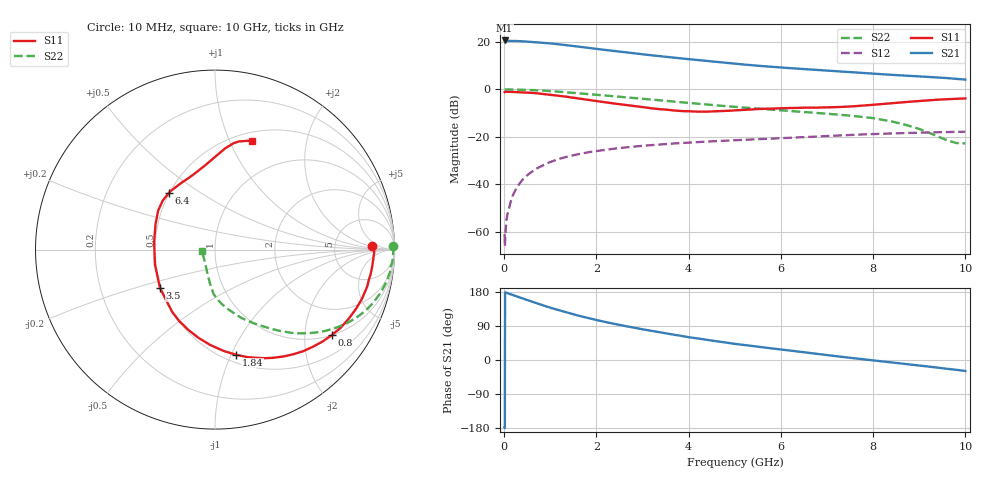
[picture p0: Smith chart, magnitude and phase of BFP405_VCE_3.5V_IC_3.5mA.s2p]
! Infineon Technologies  Discrete & RF Semiconductors
! BFP405
! VCE =  3.5 V,  IC =  3.5 mA
! Common Emitter S-Parameters:  Jan 2016
# GHz  S  MA  R  50
!  f  S11  S21  S12  S22
! GHz  MAG  ANG  MAG  ANG  MAG  ANG  MAG  ANG
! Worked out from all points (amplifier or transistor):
!   233 points, 10 MHz to 10 GHz, reference 50 ohm
!   highest |S21| = 20.5 dB at 10 MHz (marker M1)
!   |S21| within 3 dB of that: start of sweep to 1.776 GHz
!   unconditionally stable (mu >= 1): 10.61 MHz to 16.51 MHz; 3.838 GHz to end of sweep
!   at 200 MHz: K = 0.09, MSG = 32.2 dB, |S12| = -44.2 dB
!   at 1.74 GHz: K = 0.44, MSG = 22.2 dB, |S12| = -26.8 dB
!   at 10 GHz: K = 1.51, MAG = 6.7 dB, |S12| = -17.8 dB
!   S11 on the Smith chart (normalised r, x): 10 MHz: 14, +2; 800 MHz: 1.00, -2.73; 1.84 GHz: 0.57, -1.04; 3.5 GHz: 0.49, -0.24; 6.4 GHz: 0.50, +0.37; 10 GHz: 0.59, +1.21
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0.01  0.8724 1.2  10.64 -177.8  0.0009 -21.0  0.9932 1.0
0.015  0.8799 0.2  10.55 -179.7  0.0005 14.1  0.9915 0.5
0.02  0.8876 -0.7  10.48 178.3  0.0006 73.7  0.9898 0.0
0.065  0.884 -2.9  10.39 176.8  0.0022 79.1  0.993 -1.1
0.24  0.8739 -10.9  10.37 169.2  0.0075 82.8  0.9838 -5.3
0.5  0.852 -22.8  10.1 158.3  0.0155 78.1  0.9714 -10.7
0.8  0.8066 -36.2  9.621 145.9  0.0241 71.9  0.9404 -16.8
1  0.7694 -44.6  9.224 138.1  0.0295 67.9  0.9148 -20.7
1.2  0.7287 -53.1  8.797 130.8  0.0344 64.0  0.8861 -24.3
1.4  0.6865 -61.4  8.36 123.8  0.0389 60.6  0.8561 -27.6
1.68  0.6287 -72.5  7.745 114.8  0.0445 56.1  0.8134 -31.8
1.84  0.5961 -78.8  7.396 110.0  0.0475 53.7  0.7895 -34.0
2.2  0.5315 -93.0  6.699 100.1  0.0534 49.0  0.7374 -38.6
2.6  0.4709 -108.5  6.016 90.2  0.0593 44.5  0.6826 -43.1
3.4  0.3792 -140.5  4.941 72.6  0.0693 36.7  0.5809 -51.2
3.5  0.3739 -145.0  4.834 70.2  0.0705 35.8  0.5689 -52.3
4.1  0.3405 -170.2  4.199 58.5  0.0765 30.9  0.5036 -58.0
5.1  0.3636 154.7  3.379 41.2  0.0855 23.9  0.4188 -67.5
6.4  0.4067 129.4  2.7 21.9  0.0975 16.5  0.3394 -77.8
6.8  0.4116 121.2  2.537 16.0  0.1016 14.1  0.3168 -81.1
8.4  0.5095 90.9  2.011 -6.5  0.1176 2.6  0.2104 -95.9
10  0.6409 71.5  1.598 -28.9  0.1281 -8.4  0.0727 -173.3
